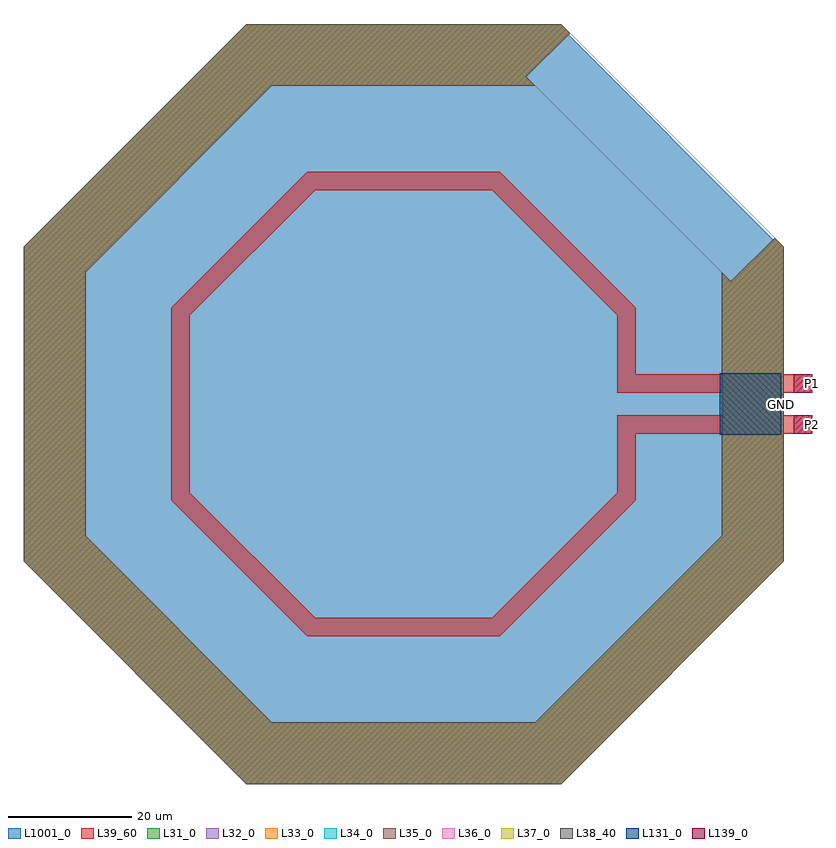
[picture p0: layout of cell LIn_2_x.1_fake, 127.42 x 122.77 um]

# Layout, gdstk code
import gdstk
lib = gdstk.Library(unit=1e-6, precision=1e-09)
def R(c, l, rs):  # rectangles x0, y0, x1, y1
    for r in rs: c.add(gdstk.rectangle(r[:2], r[2:], *l))
def P(c, l, *ps):  # polygons
    for p in ps: c.add(gdstk.Polygon(p, *l))
L31_0 = (31, 0)
L32_0 = (32, 0)
L33_0 = (33, 0)
L34_0 = (34, 0)
L35_0 = (35, 0)
L36_0 = (36, 0)
L37_0 = (37, 0)
L38_40 = (38, 40)
L39_60 = (39, 60)
L131_0 = (131, 0)
L139_0 = (139, 0)
L1001_0 = (1001, 0)

lin_2_x_1_fake = lib.new_cell('LIn_2_x.1_fake')
P(lin_2_x_1_fake, L31_0, [(52.85,19.82),(59.921,26.891),(25.427,61.386),(-25.427,61.386),(-61.386,25.427),(-61.386,-25.427),(-25.427,-61.386),(25.427,-61.386),(61.386,-25.427),(61.386,25.427),(26.891,59.921),(19.82,52.85),(51.386,21.285),(51.386,-21.285),(21.285,-51.386),(-21.285,-51.386),(-51.386,-21.285),(-51.386,21.285),(-21.285,51.386),(21.285,51.386)])
P(lin_2_x_1_fake, L32_0, [(52.85,19.82),(59.921,26.891),(25.427,61.386),(-25.427,61.386),(-61.386,25.427),(-61.386,-25.427),(-25.427,-61.386),(25.427,-61.386),(61.386,-25.427),(61.386,25.427),(26.891,59.921),(19.82,52.85),(51.386,21.285),(51.386,-21.285),(21.285,-51.386),(-21.285,-51.386),(-51.386,-21.285),(-51.386,21.285),(-21.285,51.386),(21.285,51.386)])
P(lin_2_x_1_fake, L33_0, [(52.85,19.82),(59.921,26.891),(25.427,61.386),(-25.427,61.386),(-61.386,25.427),(-61.386,-25.427),(-25.427,-61.386),(25.427,-61.386),(61.386,-25.427),(61.386,25.427),(26.891,59.921),(19.82,52.85),(51.386,21.285),(51.386,-21.285),(21.285,-51.386),(-21.285,-51.386),(-51.386,-21.285),(-51.386,21.285),(-21.285,51.386),(21.285,51.386)])
P(lin_2_x_1_fake, L34_0, [(52.85,19.82),(59.921,26.891),(25.427,61.386),(-25.427,61.386),(-61.386,25.427),(-61.386,-25.427),(-25.427,-61.386),(25.427,-61.386),(61.386,-25.427),(61.386,25.427),(26.891,59.921),(19.82,52.85),(51.386,21.285),(51.386,-21.285),(21.285,-51.386),(-21.285,-51.386),(-51.386,-21.285),(-51.386,21.285),(-21.285,51.386),(21.285,51.386)])
P(lin_2_x_1_fake, L35_0, [(52.85,19.82),(59.921,26.891),(25.427,61.386),(-25.427,61.386),(-61.386,25.427),(-61.386,-25.427),(-25.427,-61.386),(25.427,-61.386),(61.386,-25.427),(61.386,25.427),(26.891,59.921),(19.82,52.85),(51.386,21.285),(51.386,-21.285),(21.285,-51.386),(-21.285,-51.386),(-51.386,-21.285),(-51.386,21.285),(-21.285,51.386),(21.285,51.386)])
P(lin_2_x_1_fake, L36_0, [(52.85,19.82),(59.921,26.891),(25.427,61.386),(-25.427,61.386),(-61.386,25.427),(-61.386,-25.427),(-25.427,-61.386),(25.427,-61.386),(61.386,-25.427),(61.386,25.427),(26.891,59.921),(19.82,52.85),(51.386,21.285),(51.386,-21.285),(21.285,-51.386),(-21.285,-51.386),(-51.386,-21.285),(-51.386,21.285),(-21.285,51.386),(21.285,51.386)])
P(lin_2_x_1_fake, L37_0, [(52.85,19.82),(59.921,26.891),(25.427,61.386),(-25.427,61.386),(-61.386,25.427),(-61.386,-25.427),(-25.427,-61.386),(25.427,-61.386),(61.386,-25.427),(61.386,25.427),(26.891,59.921),(19.82,52.85),(51.386,21.285),(51.386,-21.285),(21.285,-51.386),(-21.285,-51.386),(-51.386,-21.285),(-51.386,21.285),(-21.285,51.386),(21.285,51.386)])
P(lin_2_x_1_fake, L38_40, [(52.85,19.82),(59.921,26.891),(25.427,61.386),(-25.427,61.386),(-61.386,25.427),(-61.386,-25.427),(-25.427,-61.386),(25.427,-61.386),(61.386,-25.427),(61.386,25.427),(26.891,59.921),(19.82,52.85),(51.386,21.285),(51.386,-21.285),(21.285,-51.386),(-21.285,-51.386),(-51.386,-21.285),(-51.386,21.285),(-21.285,51.386),(21.285,51.386)])
R(lin_2_x_1_fake, L39_60, [(34.53,-4.81,66.03,-1.81), (34.53,1.81,66.03,4.81)])
P(lin_2_x_1_fake, L39_60, [(34.53,3.31),(37.53,3.31),(37.53,15.546),(15.546,37.53),(-15.546,37.53),(-37.53,15.546),(-37.53,-15.546),(-15.546,-37.53),(15.546,-37.53),(37.53,-15.546),(37.53,-3.31),(34.53,-3.31),(34.53,-14.304),(14.304,-34.53),(-14.304,-34.53),(-34.53,-14.304),(-34.53,14.304),(-14.304,34.53),(14.304,34.53),(34.53,14.304)],
  [(52.85,19.82),(59.921,26.891),(25.427,61.386),(-25.427,61.386),(-61.386,25.427),(-61.386,-25.427),(-25.427,-61.386),(25.427,-61.386),(61.386,-25.427),(61.386,25.427),(26.891,59.921),(19.82,52.85),(51.386,21.285),(51.386,-21.285),(21.285,-51.386),(-21.285,-51.386),(-51.386,-21.285),(-51.386,21.285),(-21.285,51.386),(21.285,51.386)])
R(lin_2_x_1_fake, L131_0, [(51.03,-5,61.03,5)])
R(lin_2_x_1_fake, L139_0, [(63.03,-4.81,66.03,-1.81), (63.03,1.81,66.03,4.81)])
P(lin_2_x_1_fake, L1001_0, [(61.005,25.269),(25.269,61.005),(-25.269,61.005),(-61.005,25.269),(-61.005,-25.269),(-25.269,-61.005),(25.269,-61.005),(61.005,-25.269)],
  [(61.005,25.269),(25.269,61.005),(-25.269,61.005),(-61.005,25.269),(-61.005,-25.269),(-25.269,-61.005),(25.269,-61.005),(61.005,-25.269)],
  [(61.005,25.269),(25.269,61.005),(-25.269,61.005),(-61.005,25.269),(-61.005,-25.269),(-25.269,-61.005),(25.269,-61.005),(61.005,-25.269)],
  [(61.005,25.269),(25.269,61.005),(-25.269,61.005),(-61.005,25.269),(-61.005,-25.269),(-25.269,-61.005),(25.269,-61.005),(61.005,-25.269)],
  [(61.005,25.269),(25.269,61.005),(-25.269,61.005),(-61.005,25.269),(-61.005,-25.269),(-25.269,-61.005),(25.269,-61.005),(61.005,-25.269)],
  [(61.005,25.269),(25.269,61.005),(-25.269,61.005),(-61.005,25.269),(-61.005,-25.269),(-25.269,-61.005),(25.269,-61.005),(61.005,-25.269)],
  [(61.005,25.269),(25.269,61.005),(-25.269,61.005),(-61.005,25.269),(-61.005,-25.269),(-25.269,-61.005),(25.269,-61.005),(61.005,-25.269)],
  [(61.005,25.269),(25.269,61.005),(-25.269,61.005),(-61.005,25.269),(-61.005,-25.269),(-25.269,-61.005),(25.269,-61.005),(61.005,-25.269)],
  [(61.005,25.269),(25.269,61.005),(-25.269,61.005),(-61.005,25.269),(-61.005,-25.269),(-25.269,-61.005),(25.269,-61.005),(61.005,-25.269)])
lin_2_x_1_fake.add(gdstk.Label('P1', (66.031,3.312), layer=139, texttype=0))
lin_2_x_1_fake.add(gdstk.Label('P2', (66.031,-3.312), layer=139, texttype=0))
lin_2_x_1_fake.add(gdstk.Label('GND', (61.031,0), layer=131, texttype=0))

lib.write_gds('LIn_2_x.1_fake.gds')
